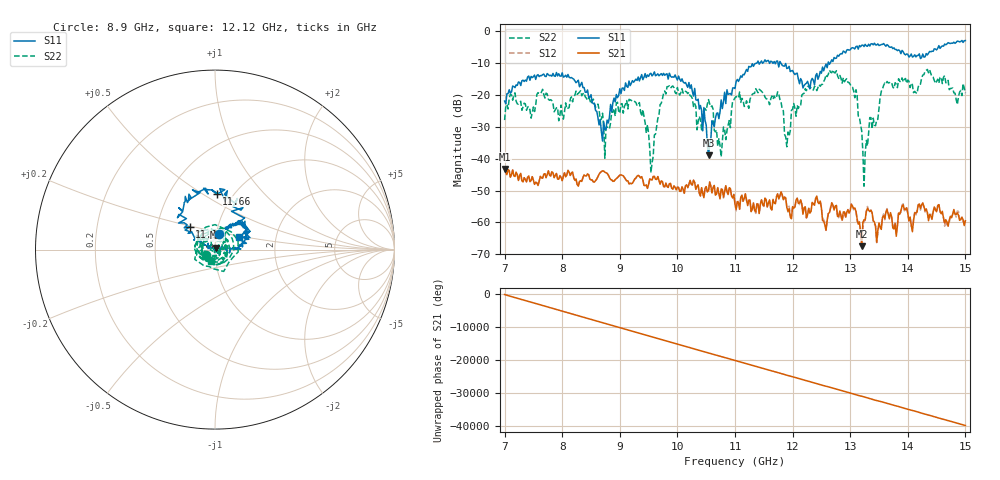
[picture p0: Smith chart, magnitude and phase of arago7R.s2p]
!Keysight Technologies,N5242B,MY47200105,A.14.00.23
!Date: Friday, April 26, 2024 11:30:30
!Correction: S11(C  2-Port  )
!S21(C  2-Port  )
!S12(C  2-Port  )
!S22(C  2-Port  )
!S2P File: Measurement: :
# Hz S  RI  R 50
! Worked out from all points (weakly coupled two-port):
!   401 points, 7 GHz to 15 GHz, reference 50 ohm
!   highest |S21| = -43.23 dB at 7 GHz (marker M1); lowest = -67.5 dB at 13.2 GHz (marker M2)
!   lowest |S11| = -39.0 dB at 10.54 GHz (marker M3), VSWR 1.02, Z = 50.4 + j1.06 ohm
!   |S11| at or under -10 dB: start of sweep to 11.38 GHz; 11.41279 GHz to 11.43312 GHz (20.33 MHz wide, 0.178 % of centre); 11.8 GHz to 12.62 GHz (819.4 MHz wide, 6.71 % of centre) (the widest 3 of 9)
!   |S22| runs from -48.6 to -12.0 dB; largest |S21 - S12| = 0.00021
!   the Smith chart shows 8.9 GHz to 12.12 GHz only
!   S11 on the Smith chart (normalised r, x): 8.9 GHz: 1.02, +0.18; 11.12 GHz: 0.73, +0.19; 11.66 GHz: 0.84, +0.58; 12.12 GHz: 1.29, +0.19
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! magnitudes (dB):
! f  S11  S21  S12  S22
! 7 GHz  -21.9  -43.2  -43.2  -27.9
! 8.34 GHz  -16.1  -47.2  -47.2  -20.3
! 8.72 GHz  -28.4  -43.9  -43.9  -29.7
! 8.9 GHz  -21.0  -47.1  -47.1  -24.3
! 9.3 GHz  -15.5  -45.5  -45.5  -23.4
! 9.56 GHz  -14.0  -46.7  -46.7  -41.3
! 9.68 GHz  -14.0  -46.8  -46.8  -26.2
! 9.86 GHz  -13.2  -47.9  -47.9  -17.1
! 10.26 GHz  -18.9  -48.3  -48.3  -21.2
! 10.38 GHz  -24.4  -50.7  -50.9  -26.7
! 10.54 GHz  -39.0  -50.0  -50.1  -21.5
! 10.74 GHz  -25.3  -52.6  -52.5  -36.0
! 11 GHz  -18.0  -54.3  -54.2  -20.9
! 11.12 GHz  -14.4  -51.4  -51.5  -21.1
! 11.66 GHz  -10.1  -52.9  -52.7  -21.3
! 11.9 GHz  -11.7  -55.3  -54.9  -36.3
! 12.12 GHz  -16.5  -53.9  -54.4  -23.1
! 12.34 GHz  -14.8  -53.7  -54.0  -18.2
! 12.96 GHz  -5.8  -56.0  -56.0  -16.0
! 13.2 GHz  -4.4  -67.5  -67.0  -31.3
! 13.68 GHz  -5.0  -58.9  -58.1  -16.2
! 15 GHz  -3.0  -59.5  -59.5  -19.4
